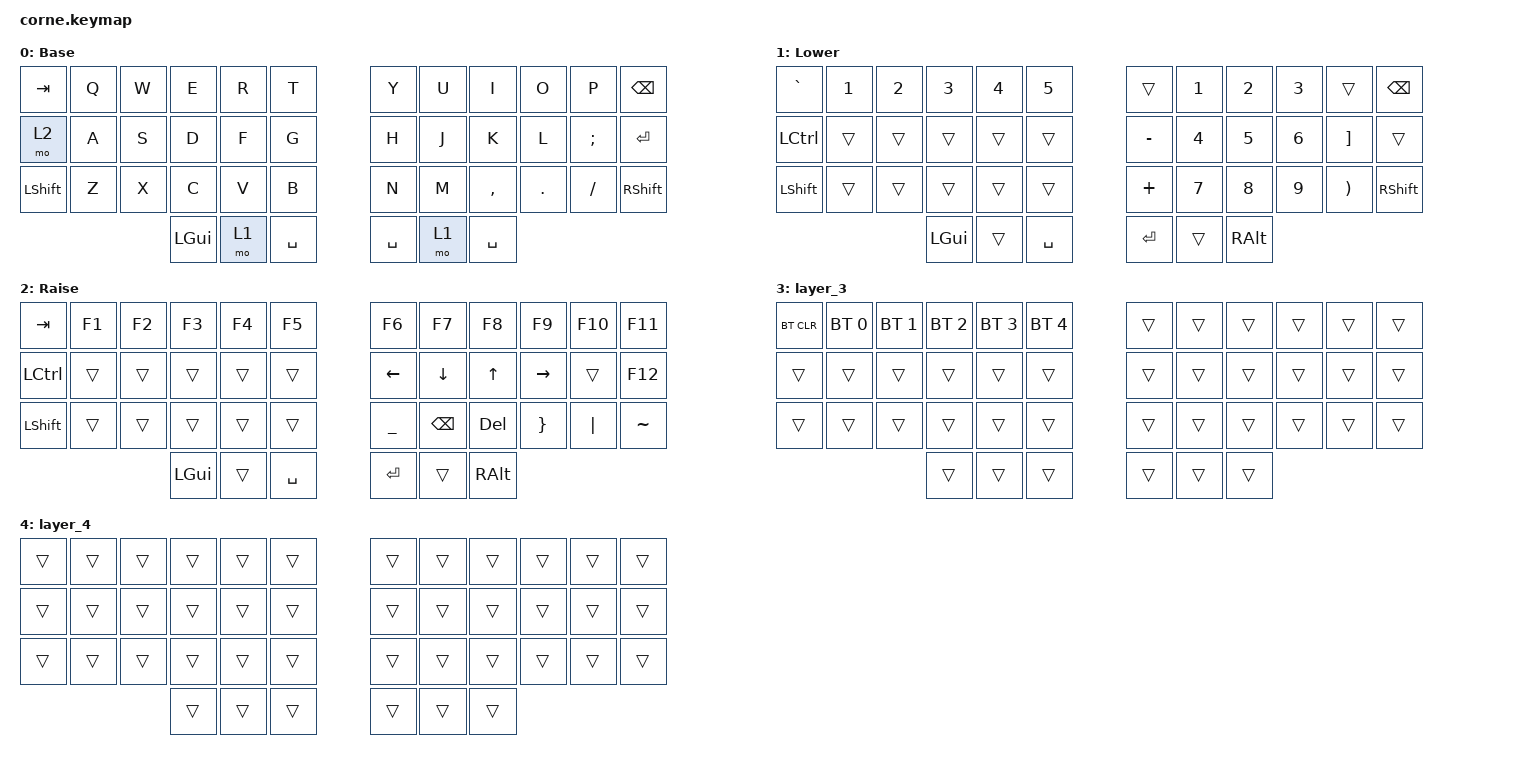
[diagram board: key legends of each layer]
/*
 * Copyright (c) 2020 The ZMK Contributors
 *
 * SPDX-License-Identifier: MIT
 */

#include <behaviors.dtsi>
#include <dt-bindings/zmk/bt.h>
#include <dt-bindings/zmk/keys.h>

/ {
    keymap {
        compatible = "zmk,keymap";

        default_layer {
            // -----------------------------------------------------------------------------------------
            // |  TAB |  Q  |  W  |  E  |  R  |  T  |   |  Y  |  U   |  I  |  O  |  P  | BKSP |
            // | CTRL |  A  |  S  |  D  |  F  |  G  |   |  H  |  J   |  K  |  L  |  ;  |  '   |
            // | SHFT |  Z  |  X  |  C  |  V  |  B  |   |  N  |  M   |  ,  |  .  |  /  | ESC  |
            //                    | GUI | LWR | SPC |   | ENT | RSE  | ALT |

            label = "Base";
            bindings = <
&kp TAB    &kp Q  &kp W  &kp E     &kp R  &kp T        &kp Y      &kp U  &kp I      &kp O    &kp P     &kp BACKSPACE
&mo 2      &kp A  &kp S  &kp D     &kp F  &kp G        &kp H      &kp J  &kp K      &kp L    &kp SEMI  &kp ENTER
&kp LSHFT  &kp Z  &kp X  &kp C     &kp V  &kp B        &kp N      &kp M  &kp COMMA  &kp DOT  &kp FSLH  &kp RIGHT_SHIFT
                         &kp LGUI  &mo 1  &kp SPACE    &kp SPACE  &mo 1  &kp SPACE
            >;
        };

        lower_layer {
            // -----------------------------------------------------------------------------------------
            // |  TAB |  1  |  2  |  3  |  4  |  5  |   |  6  |  7  |  8  |  9  |  0  | BKSP |
            // | BTCLR| BT1 | BT2 | BT3 | BT4 | BT5 |   | LFT | DWN |  UP | RGT |     |      |
            // | SHFT |     |     |     |     |     |   |     |     |     |     |     |      |
            //                    | GUI |     | SPC |   | ENT |     | ALT |

            label = "Lower";
            bindings = <
&kp GRAVE         &kp N1  &kp N2  &kp N3    &kp N4  &kp N5       &trans     &kp N1  &kp N2    &kp N3  &trans                 &kp BSPC
&kp LEFT_CONTROL  &trans  &trans  &trans    &trans  &trans       &kp MINUS  &kp N4  &kp N5    &kp N6  &kp RIGHT_BRACKET      &trans
&kp LSHFT         &trans  &trans  &trans    &trans  &trans       &kp PLUS   &kp N7  &kp N8    &kp N9  &kp RIGHT_PARENTHESIS  &kp RIGHT_SHIFT
                                  &kp LGUI  &trans  &kp SPACE    &kp RET    &trans  &kp RALT
            >;
        };

        raise_layer {
            // -----------------------------------------------------------------------------------------
            // |  TAB |  !  |  @  |  #  |  $  |  %  |   |  ^  |  &  |  *  |  (  |  )  | BKSP |
            // | CTRL |     |     |     |     |     |   |  -  |  =  |  [  |  ]  |  \  |  `   |
            // | SHFT |     |     |     |     |     |   |  _  |  +  |  {  |  }  | "|" |  ~   |
            //                    | GUI |     | SPC |   | ENT |     | ALT |

            label = "Raise";
            bindings = <
&kp TAB    &kp F1  &kp F2  &kp F3    &kp F4  &kp F5       &kp F6     &kp F7          &kp F8        &kp F9     &kp F10   &kp F11
&kp LCTRL  &trans  &trans  &trans    &trans  &trans       &kp LEFT   &kp DOWN_ARROW  &kp UP_ARROW  &kp RIGHT  &trans    &kp F12
&kp LSHFT  &trans  &trans  &trans    &trans  &trans       &kp UNDER  &kp BACKSPACE   &kp DELETE    &kp RBRC   &kp PIPE  &kp TILDE
                           &kp LGUI  &trans  &kp SPACE    &kp RET    &trans          &kp RALT
            >;
        };

        layer_3 {
            bindings = <
&bt BT_CLR  &bt BT_SEL 0  &bt BT_SEL 1  &bt BT_SEL 2  &bt BT_SEL 3  &bt BT_SEL 4    &trans  &trans  &trans  &trans  &trans  &trans
&trans      &trans        &trans        &trans        &trans        &trans          &trans  &trans  &trans  &trans  &trans  &trans
&trans      &trans        &trans        &trans        &trans        &trans          &trans  &trans  &trans  &trans  &trans  &trans
                                        &trans        &trans        &trans          &trans  &trans  &trans
            >;
        };

        layer_4 {
            bindings = <
&trans  &trans  &trans  &trans  &trans  &trans    &trans  &trans  &trans  &trans  &trans  &trans
&trans  &trans  &trans  &trans  &trans  &trans    &trans  &trans  &trans  &trans  &trans  &trans
&trans  &trans  &trans  &trans  &trans  &trans    &trans  &trans  &trans  &trans  &trans  &trans
                        &trans  &trans  &trans    &trans  &trans  &trans
            >;
        };
    };

    conditional_layers {
        compatible = "zmk,conditional-layers";

        double {
            if-layers = <1 2>;
            then-layer = <3>;
        };
    };
};
